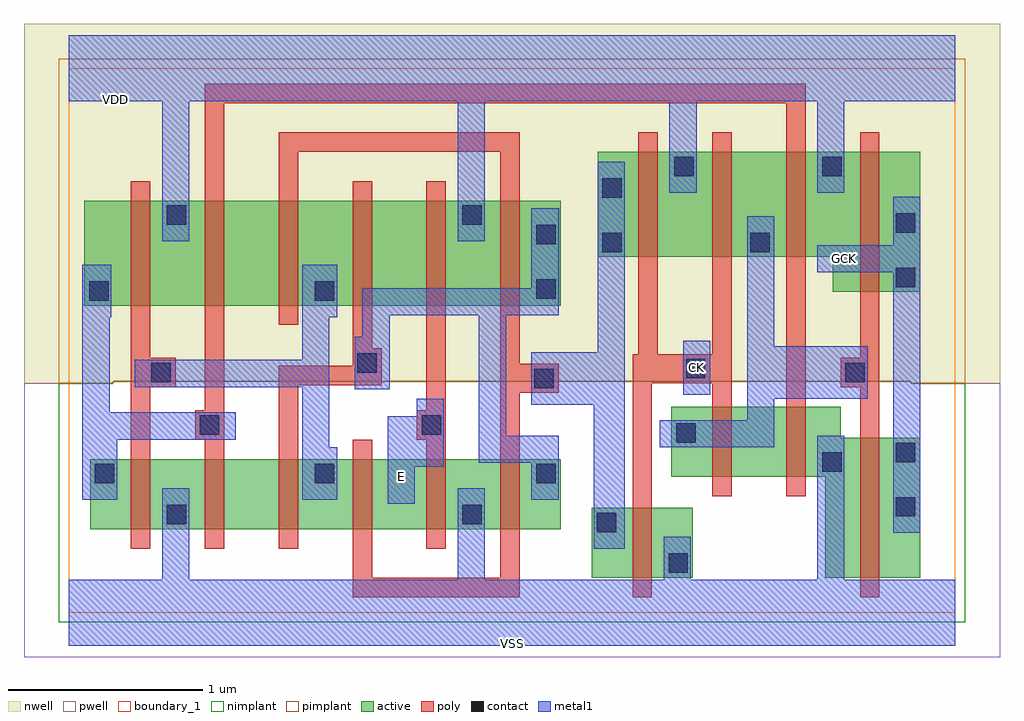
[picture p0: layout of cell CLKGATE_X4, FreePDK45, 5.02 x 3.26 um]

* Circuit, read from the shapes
.subckt CLKGATE_X4 CK E GCK VDD VSS
M1 VSS n1 n2 VSUBS nfet w=0.36u l=0.1u
M2 n3 n2 VSS VSUBS nfet w=0.36u l=0.1u
M3 n1 n4 n3 VSUBS nfet w=0.36u l=0.1u
M4 n5 n6 n1 VSUBS nfet w=0.36u l=0.1u
M5 VSS E n5 VSUBS nfet w=0.36u l=0.1u
M6 n4 n6 VSS VSUBS nfet w=0.36u l=0.1u
M7 VSS CK n6 VSUBS nfet w=0.36u l=0.1u
M8 n7 CK n8 VSUBS nfet w=0.36u l=0.1u
M9 VSS n2 n7 VSUBS nfet w=0.36u l=0.1u
M10 GCK n8 VSS VSUBS nfet w=0.72u l=0.1u
M11 VDD n1 n2 n9 pfet w=0.54u l=0.1u
M12 n10 n2 VDD n9 pfet w=0.54u l=0.1u
M13 n1 n6 n10 n9 pfet w=0.54u l=0.1u
M14 n11 n4 n1 n9 pfet w=0.54u l=0.1u
M15 VDD E n11 n9 pfet w=0.54u l=0.1u
M16 n4 n6 VDD n9 pfet w=0.54u l=0.1u
M17 VDD CK n6 n9 pfet w=0.54u l=0.1u
M18 n8 CK VDD n9 pfet w=0.54u l=0.1u
M19 VDD n2 n8 n9 pfet w=0.54u l=0.1u
M20 GCK n8 VDD n9 pfet w=0.72u l=0.1u
.ends

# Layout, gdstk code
import gdstk
lib = gdstk.Library(unit=1e-6, precision=1e-09)
def R(c, l, rs):  # rectangles x0, y0, x1, y1
    for r in rs: c.add(gdstk.rectangle(r[:2], r[2:], *l))
def P(c, l, *ps):  # polygons
    for p in ps: c.add(gdstk.Polygon(p, *l))
active = (1, 0)
pwell = (2, 0)
nwell = (3, 0)
nimplant = (4, 0)
pimplant = (5, 0)
poly = (9, 0)
contact = (10, 0)
metal1 = (11, 0)
boundary_1 = (235, 1)

clkgate_x4 = lib.new_cell('CLKGATE_X4')
R(clkgate_x4, active, [(2.69,0.18,3.21,0.54), (0.11,0.43,2.53,0.79), (0.08,1.58,2.53,2.12)])
P(clkgate_x4, active, [(2.72,1.83),(3.93,1.83),(3.93,1.65),(4.38,1.65),(4.38,2.37),(2.72,2.37)],
  [(3.1,0.7),(3.89,0.7),(3.89,0.18),(4.38,0.18),(4.38,0.9),(3.97,0.9),(3.97,1.06),(3.1,1.06)])
P(clkgate_x4, pwell, [(-0.23,-0.23),(4.79,-0.23),(4.79,1.18),(4.33,1.18),(4.33,1.19),(0.23,1.19),(0.23,1.18),(-0.23,1.18)])
P(clkgate_x4, nwell, [(-0.23,1.18),(0.23,1.18),(0.23,1.19),(4.33,1.19),(4.33,1.18),(4.79,1.18),(4.79,3.03),(-0.23,3.03)])
P(clkgate_x4, nimplant, [(-0.05,-0.05),(4.61,-0.05),(4.61,1.18),(4.33,1.18),(4.33,1.19),(0.23,1.19),(0.23,1.18),(-0.05,1.18)])
P(clkgate_x4, pimplant, [(-0.05,1.18),(0.23,1.18),(0.23,1.19),(4.33,1.19),(4.33,1.18),(4.61,1.18),(4.61,2.85),(-0.05,2.85)])
P(clkgate_x4, poly, [(3.97,1.16),(4.07,1.16),(4.07,0.08),(4.17,0.08),(4.17,2.47),(4.07,2.47),(4.07,1.31),(3.97,1.31)],
  [(0.65,0.89),(0.7,0.89),(0.7,0.33),(0.8,0.33),(0.8,2.62),(3.69,2.62),(3.69,0.6),(3.79,0.6),(3.79,2.72),(0.7,2.72),(0.7,1.04),(0.65,1.04)],
  [(2.9,0.08),(3,0.08),(3,1.18),(3.31,1.18),(3.31,0.6),(3.41,0.6),(3.41,2.47),(3.31,2.47),(3.31,1.33),(3.03,1.33),(3.03,2.47),(2.93,2.47),(2.93,1.33),(2.9,1.33)],
  [(1.08,1.48),(1.18,1.48),(1.18,2.37),(2.22,2.37),(2.22,0.18),(1.56,0.18),(1.56,0.89),(1.46,0.89),(1.46,0.08),(2.32,0.08),(2.32,1.13),(2.52,1.13),(2.52,1.28),(2.32,1.28),(2.32,2.47),(1.08,2.47)],
  [(1.79,0.89),(1.84,0.89),(1.84,0.33),(1.94,0.33),(1.94,2.22),(1.84,2.22),(1.84,1.04),(1.79,1.04)],
  [(1.08,0.33),(1.18,0.33),(1.18,1.17),(1.61,1.17),(1.61,1.36),(1.56,1.36),(1.56,2.22),(1.46,2.22),(1.46,1.27),(1.08,1.27)],
  [(0.32,0.33),(0.42,0.33),(0.42,1.16),(0.55,1.16),(0.55,1.31),(0.42,1.31),(0.42,2.22),(0.32,2.22)])
R(clkgate_x4, contact, [(3.085,0.205,3.185,0.305), (2.715,0.415,2.815,0.515), (0.505,0.455,0.605,0.555), (2.025,0.455,2.125,0.555), (4.255,0.495,4.355,0.595), (0.135,0.665,0.235,0.765), (1.265,0.665,1.365,0.765), (2.405,0.665,2.505,0.765), (3.875,0.725,3.975,0.825), (4.255,0.775,4.355,0.875), (3.125,0.875,3.225,0.975), (0.675,0.915,0.775,1.015), (1.815,0.915,1.915,1.015), (2.395,1.155,2.495,1.255), (0.425,1.185,0.525,1.285), (3.995,1.185,4.095,1.285), (3.175,1.205,3.275,1.305), (1.485,1.235,1.585,1.335), (0.105,1.605,0.205,1.705), (1.265,1.605,1.365,1.705), (2.405,1.615,2.505,1.715), (4.255,1.675,4.355,1.775), (2.745,1.855,2.845,1.955), (3.505,1.855,3.605,1.955), (2.405,1.895,2.505,1.995), (4.255,1.955,4.355,2.055), (0.505,1.995,0.605,2.095), (2.025,1.995,2.125,2.095), (2.745,2.135,2.845,2.235), (3.115,2.245,3.215,2.345), (3.875,2.245,3.975,2.345)])
R(clkgate_x4, metal1, [(3.16,1.12,3.3,1.4), (3.16,1.12,3.3,1.4)])
P(clkgate_x4, metal1, [(1.64,0.56),(1.78,0.56),(1.78,0.75),(1.93,0.75),(1.93,1.1),(1.79,1.1),(1.79,1.01),(1.64,1.01)],
  [(3.85,1.75),(4.24,1.75),(4.24,0.41),(4.38,0.41),(4.38,2.14),(4.24,2.14),(4.24,1.89),(3.85,1.89)],
  [(0,-0.17),(4.56,-0.17),(4.56,0.17),(3.99,0.17),(3.99,0.91),(3.85,0.91),(3.85,0.17),(3.2,0.17),(3.2,0.39),(3.06,0.39),(3.06,0.17),(2.14,0.17),(2.14,0.64),(2,0.64),(2,0.17),(0.62,0.17),(0.62,0.64),(0.48,0.64),(0.48,0.17),(0,0.17)],
  [(0,2.63),(0.48,2.63),(0.48,1.91),(0.62,1.91),(0.62,2.63),(2,2.63),(2,1.91),(2.14,1.91),(2.14,2.63),(3.09,2.63),(3.09,2.16),(3.23,2.16),(3.23,2.63),(3.85,2.63),(3.85,2.16),(3.99,2.16),(3.99,2.63),(4.56,2.63),(4.56,2.97),(0,2.97)],
  [(0,2.63),(0.48,2.63),(0.48,1.91),(0.62,1.91),(0.62,2.63),(2,2.63),(2,1.91),(2.14,1.91),(2.14,2.63),(3.09,2.63),(3.09,2.16),(3.23,2.16),(3.23,2.63),(3.85,2.63),(3.85,2.16),(3.99,2.16),(3.99,2.63),(4.56,2.63),(4.56,2.97),(0,2.97)],
  [(0,-0.17),(4.56,-0.17),(4.56,0.17),(3.99,0.17),(3.99,0.91),(3.85,0.91),(3.85,0.17),(3.2,0.17),(3.2,0.39),(3.06,0.39),(3.06,0.17),(2.14,0.17),(2.14,0.64),(2,0.64),(2,0.17),(0.62,0.17),(0.62,0.64),(0.48,0.64),(0.48,0.17),(0,0.17)],
  [(3.85,1.75),(4.24,1.75),(4.24,0.41),(4.38,0.41),(4.38,2.14),(4.24,2.14),(4.24,1.89),(3.85,1.89)],
  [(3.04,0.85),(3.63,0.85),(3.63,1.1),(4.11,1.1),(4.11,1.37),(3.63,1.37),(3.63,2.04),(3.49,2.04),(3.49,0.99),(3.04,0.99)],
  [(2.38,1.07),(2.7,1.07),(2.7,0.33),(2.86,0.33),(2.86,2.32),(2.72,2.32),(2.72,1.34),(2.38,1.34)],
  [(2.25,1.53),(2.52,1.53),(2.52,2.08),(2.38,2.08),(2.38,1.67),(1.51,1.67),(1.51,1.42),(1.47,1.42),(1.47,1.15),(1.65,1.15),(1.65,1.53),(2.11,1.53),(2.11,0.77),(2.38,0.77),(2.38,0.58),(2.52,0.58),(2.52,0.91),(2.25,0.91)],
  [(1.64,0.56),(1.78,0.56),(1.78,0.75),(1.93,0.75),(1.93,1.1),(1.79,1.1),(1.79,1.01),(1.64,1.01)],
  [(1.34,1.52),(1.38,1.52),(1.38,1.79),(1.2,1.79),(1.2,1.3),(0.34,1.3),(0.34,1.16),(1.2,1.16),(1.2,0.58),(1.38,0.58),(1.38,0.85),(1.34,0.85)],
  [(0.07,0.58),(0.25,0.58),(0.25,0.89),(0.86,0.89),(0.86,1.03),(0.21,1.03),(0.21,1.52),(0.22,1.52),(0.22,1.79),(0.07,1.79)])
R(clkgate_x4, boundary_1, [(0,0,4.56,2.8)])
clkgate_x4.add(gdstk.Label('VSS', (2.28,-0.16), layer=11, texttype=0))
clkgate_x4.add(gdstk.Label('VDD', (0.24,2.64), layer=11, texttype=0))
clkgate_x4.add(gdstk.Label('GCK', (3.99,1.82), layer=11, texttype=0))
clkgate_x4.add(gdstk.Label('E', (1.71,0.7), layer=11, texttype=0))
clkgate_x4.add(gdstk.Label('CK', (3.23,1.26), layer=11, texttype=0))

lib.write_gds('CLKGATE_X4.gds')
